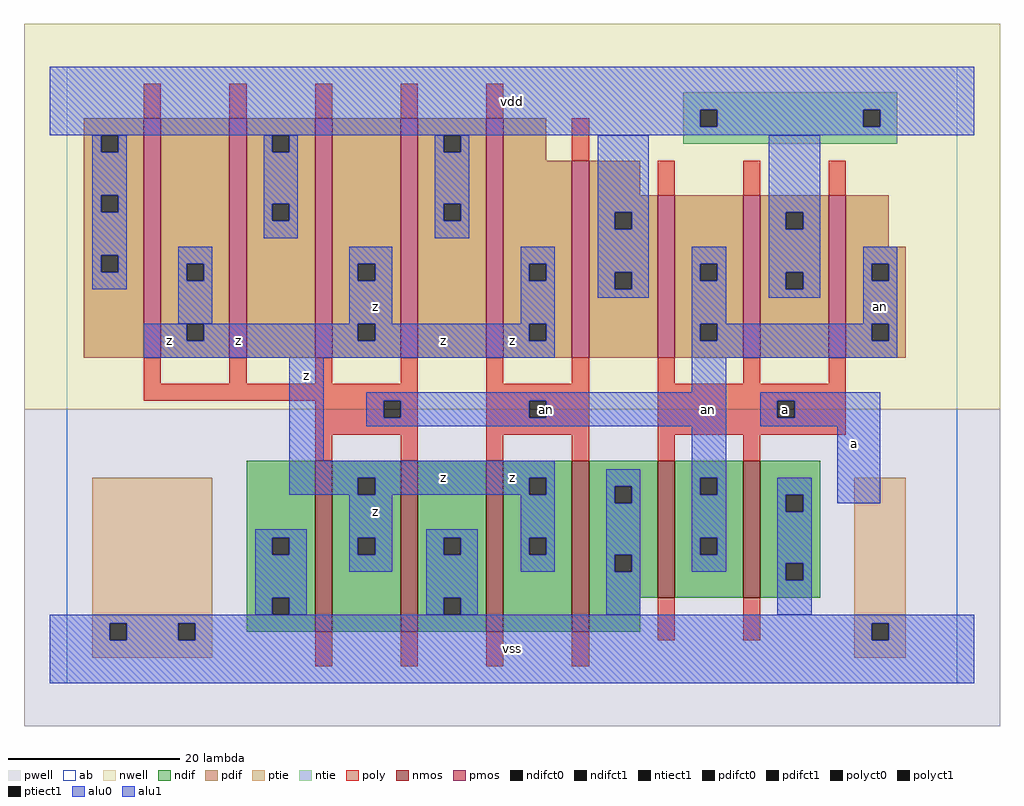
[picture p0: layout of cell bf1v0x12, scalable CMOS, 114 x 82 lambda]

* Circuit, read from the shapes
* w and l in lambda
.subckt bf1v0x12 a an vdd vss z
M1 z an vss vss nfet w=20 l=2 m=4
M2 an a vss vss nfet w=16 l=2 m=2
M3 z an vdd vdd pfet w=28 l=2 m=5
M4 vdd an z vdd pfet w=23 l=2
M5 an a vdd vdd pfet w=19 l=2 m=3
.ends

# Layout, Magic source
magic
tech scmos
<< ab >>
rect 0 0 104 72
<< nwell >>
rect -5 32 109 77
<< pwell >>
rect -5 -5 109 32
<< poly >>
rect 9 66 11 70
rect 19 66 21 70
rect 29 66 31 70
rect 39 66 41 70
rect 49 66 51 70
rect 59 61 61 66
rect 69 57 71 61
rect 79 57 81 61
rect 89 57 91 61
rect 9 35 11 38
rect 19 35 21 38
rect 29 35 31 38
rect 39 35 41 38
rect 9 33 41 35
rect 29 31 37 33
rect 39 31 41 33
rect 29 29 41 31
rect 29 26 31 29
rect 39 26 41 29
rect 49 35 51 38
rect 59 35 61 38
rect 49 33 61 35
rect 49 31 54 33
rect 56 31 61 33
rect 49 29 61 31
rect 49 26 51 29
rect 59 26 61 29
rect 69 35 71 38
rect 79 35 81 38
rect 89 35 91 38
rect 69 33 91 35
rect 69 31 83 33
rect 85 31 91 33
rect 69 29 91 31
rect 69 26 71 29
rect 79 26 81 29
rect 29 2 31 6
rect 39 2 41 6
rect 49 2 51 6
rect 59 2 61 6
rect 69 5 71 10
rect 79 5 81 10
<< ndif >>
rect 21 17 29 26
rect 21 15 24 17
rect 26 15 29 17
rect 21 10 29 15
rect 21 8 24 10
rect 26 8 29 10
rect 21 6 29 8
rect 31 24 39 26
rect 31 22 34 24
rect 36 22 39 24
rect 31 17 39 22
rect 31 15 34 17
rect 36 15 39 17
rect 31 6 39 15
rect 41 17 49 26
rect 41 15 44 17
rect 46 15 49 17
rect 41 10 49 15
rect 41 8 44 10
rect 46 8 49 10
rect 41 6 49 8
rect 51 24 59 26
rect 51 22 54 24
rect 56 22 59 24
rect 51 17 59 22
rect 51 15 54 17
rect 56 15 59 17
rect 51 6 59 15
rect 61 23 69 26
rect 61 21 64 23
rect 66 21 69 23
rect 61 15 69 21
rect 61 13 64 15
rect 66 13 69 15
rect 61 10 69 13
rect 71 24 79 26
rect 71 22 74 24
rect 76 22 79 24
rect 71 17 79 22
rect 71 15 74 17
rect 76 15 79 17
rect 71 10 79 15
rect 81 22 88 26
rect 81 20 84 22
rect 86 20 88 22
rect 81 14 88 20
rect 81 12 84 14
rect 86 12 88 14
rect 81 10 88 12
rect 61 6 67 10
<< pdif >>
rect 2 64 9 66
rect 2 62 4 64
rect 6 62 9 64
rect 2 57 9 62
rect 2 55 4 57
rect 6 55 9 57
rect 2 50 9 55
rect 2 48 4 50
rect 6 48 9 50
rect 2 38 9 48
rect 11 49 19 66
rect 11 47 14 49
rect 16 47 19 49
rect 11 42 19 47
rect 11 40 14 42
rect 16 40 19 42
rect 11 38 19 40
rect 21 64 29 66
rect 21 62 24 64
rect 26 62 29 64
rect 21 56 29 62
rect 21 54 24 56
rect 26 54 29 56
rect 21 38 29 54
rect 31 49 39 66
rect 31 47 34 49
rect 36 47 39 49
rect 31 42 39 47
rect 31 40 34 42
rect 36 40 39 42
rect 31 38 39 40
rect 41 64 49 66
rect 41 62 44 64
rect 46 62 49 64
rect 41 56 49 62
rect 41 54 44 56
rect 46 54 49 56
rect 41 38 49 54
rect 51 61 56 66
rect 51 49 59 61
rect 51 47 54 49
rect 56 47 59 49
rect 51 42 59 47
rect 51 40 54 42
rect 56 40 59 42
rect 51 38 59 40
rect 61 57 67 61
rect 61 55 69 57
rect 61 53 64 55
rect 66 53 69 55
rect 61 48 69 53
rect 61 46 64 48
rect 66 46 69 48
rect 61 38 69 46
rect 71 49 79 57
rect 71 47 74 49
rect 76 47 79 49
rect 71 42 79 47
rect 71 40 74 42
rect 76 40 79 42
rect 71 38 79 40
rect 81 55 89 57
rect 81 53 84 55
rect 86 53 89 55
rect 81 48 89 53
rect 81 46 84 48
rect 86 46 89 48
rect 81 38 89 46
rect 91 51 96 57
rect 91 49 98 51
rect 91 47 94 49
rect 96 47 98 49
rect 91 42 98 47
rect 91 40 94 42
rect 96 40 98 42
rect 91 38 98 40
<< alu1 >>
rect -2 67 106 72
rect -2 65 74 67
rect 76 65 93 67
rect 95 65 106 67
rect -2 64 106 65
rect 33 49 38 51
rect 33 47 34 49
rect 36 47 38 49
rect 33 42 38 47
rect 53 49 57 51
rect 53 47 54 49
rect 56 47 57 49
rect 53 42 57 47
rect 9 40 14 42
rect 16 40 34 42
rect 36 40 54 42
rect 56 40 57 42
rect 9 38 57 40
rect 26 26 30 38
rect 81 33 95 34
rect 81 31 83 33
rect 85 31 95 33
rect 81 30 95 31
rect 26 24 57 26
rect 26 22 34 24
rect 36 22 54 24
rect 56 22 57 24
rect 33 17 38 22
rect 33 15 34 17
rect 36 15 38 17
rect 33 13 38 15
rect 53 17 57 22
rect 53 15 54 17
rect 56 15 57 17
rect 53 13 57 15
rect 90 21 95 30
rect -2 7 106 8
rect -2 5 5 7
rect 7 5 13 7
rect 15 5 94 7
rect 96 5 106 7
rect -2 0 106 5
<< ptie >>
rect 3 7 17 24
rect 3 5 5 7
rect 7 5 13 7
rect 15 5 17 7
rect 3 3 17 5
rect 92 7 98 24
rect 92 5 94 7
rect 96 5 98 7
rect 92 3 98 5
<< ntie >>
rect 72 67 97 69
rect 72 65 74 67
rect 76 65 93 67
rect 95 65 97 67
rect 72 63 97 65
<< nmos >>
rect 29 6 31 26
rect 39 6 41 26
rect 49 6 51 26
rect 59 6 61 26
rect 69 10 71 26
rect 79 10 81 26
<< pmos >>
rect 9 38 11 66
rect 19 38 21 66
rect 29 38 31 66
rect 39 38 41 66
rect 49 38 51 66
rect 59 38 61 61
rect 69 38 71 57
rect 79 38 81 57
rect 89 38 91 57
<< polyct0 >>
rect 37 31 39 33
rect 54 31 56 33
<< polyct1 >>
rect 83 31 85 33
<< ndifct0 >>
rect 24 15 26 17
rect 24 8 26 10
rect 44 15 46 17
rect 44 8 46 10
rect 64 21 66 23
rect 64 13 66 15
rect 74 22 76 24
rect 74 15 76 17
rect 84 20 86 22
rect 84 12 86 14
<< ndifct1 >>
rect 34 22 36 24
rect 34 15 36 17
rect 54 22 56 24
rect 54 15 56 17
<< ntiect1 >>
rect 74 65 76 67
rect 93 65 95 67
<< ptiect1 >>
rect 5 5 7 7
rect 13 5 15 7
rect 94 5 96 7
<< pdifct0 >>
rect 4 62 6 64
rect 4 55 6 57
rect 4 48 6 50
rect 14 47 16 49
rect 24 62 26 64
rect 24 54 26 56
rect 44 62 46 64
rect 44 54 46 56
rect 64 53 66 55
rect 64 46 66 48
rect 74 47 76 49
rect 74 40 76 42
rect 84 53 86 55
rect 84 46 86 48
rect 94 47 96 49
rect 94 40 96 42
<< pdifct1 >>
rect 14 40 16 42
rect 34 47 36 49
rect 34 40 36 42
rect 54 47 56 49
rect 54 40 56 42
<< alu0 >>
rect 3 62 4 64
rect 6 62 7 64
rect 3 57 7 62
rect 3 55 4 57
rect 6 55 7 57
rect 3 50 7 55
rect 23 62 24 64
rect 26 62 27 64
rect 23 56 27 62
rect 23 54 24 56
rect 26 54 27 56
rect 23 52 27 54
rect 43 62 44 64
rect 46 62 47 64
rect 43 56 47 62
rect 43 54 44 56
rect 46 54 47 56
rect 43 52 47 54
rect 62 55 68 64
rect 62 53 64 55
rect 66 53 68 55
rect 3 48 4 50
rect 6 48 7 50
rect 3 46 7 48
rect 13 49 17 51
rect 13 47 14 49
rect 16 47 17 49
rect 13 42 17 47
rect 62 48 68 53
rect 82 55 88 64
rect 82 53 84 55
rect 86 53 88 55
rect 62 46 64 48
rect 66 46 68 48
rect 62 45 68 46
rect 73 49 77 51
rect 73 47 74 49
rect 76 47 77 49
rect 73 42 77 47
rect 82 48 88 53
rect 82 46 84 48
rect 86 46 88 48
rect 82 45 88 46
rect 93 49 97 51
rect 93 47 94 49
rect 96 47 97 49
rect 93 42 97 47
rect 73 40 74 42
rect 76 40 94 42
rect 96 40 97 42
rect 73 38 97 40
rect 73 34 77 38
rect 35 33 77 34
rect 35 31 37 33
rect 39 31 54 33
rect 56 31 77 33
rect 35 30 77 31
rect 22 17 28 18
rect 22 15 24 17
rect 26 15 28 17
rect 22 10 28 15
rect 42 17 48 18
rect 42 15 44 17
rect 46 15 48 17
rect 22 8 24 10
rect 26 8 28 10
rect 42 10 48 15
rect 63 23 67 25
rect 63 21 64 23
rect 66 21 67 23
rect 63 15 67 21
rect 63 13 64 15
rect 66 13 67 15
rect 73 24 77 30
rect 73 22 74 24
rect 76 22 77 24
rect 73 17 77 22
rect 73 15 74 17
rect 76 15 77 17
rect 73 13 77 15
rect 83 22 87 24
rect 83 20 84 22
rect 86 20 87 22
rect 83 14 87 20
rect 42 8 44 10
rect 46 8 48 10
rect 63 8 67 13
rect 83 12 84 14
rect 86 12 87 14
rect 83 8 87 12
<< labels >>
rlabel alu0 56 32 56 32 6 an
rlabel alu0 95 44 95 44 6 an
rlabel alu0 75 32 75 32 6 an
rlabel alu1 20 40 20 40 6 z
rlabel alu1 12 40 12 40 6 z
rlabel alu1 36 20 36 20 6 z
rlabel alu1 44 24 44 24 6 z
rlabel alu1 44 40 44 40 6 z
rlabel alu1 28 36 28 36 6 z
rlabel alu1 36 44 36 44 6 z
rlabel alu1 52 4 52 4 6 vss
rlabel alu1 52 24 52 24 6 z
rlabel alu1 52 40 52 40 6 z
rlabel alu1 52 68 52 68 6 vdd
rlabel alu1 92 28 92 28 6 a
rlabel polyct1 84 32 84 32 6 a
<< end >>
